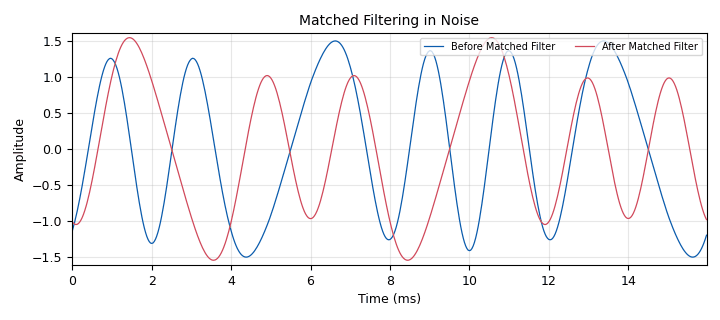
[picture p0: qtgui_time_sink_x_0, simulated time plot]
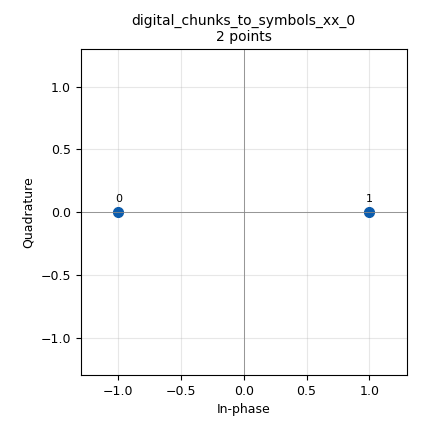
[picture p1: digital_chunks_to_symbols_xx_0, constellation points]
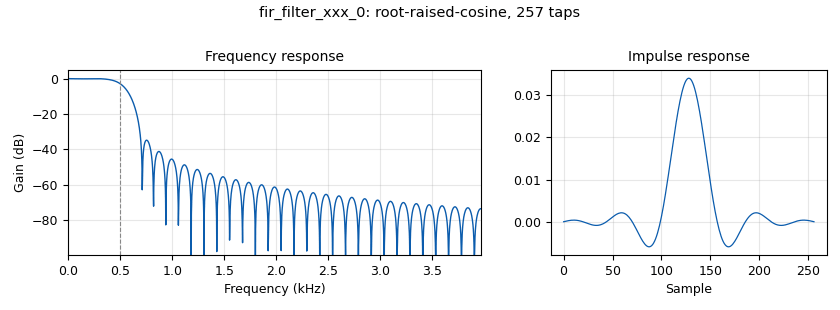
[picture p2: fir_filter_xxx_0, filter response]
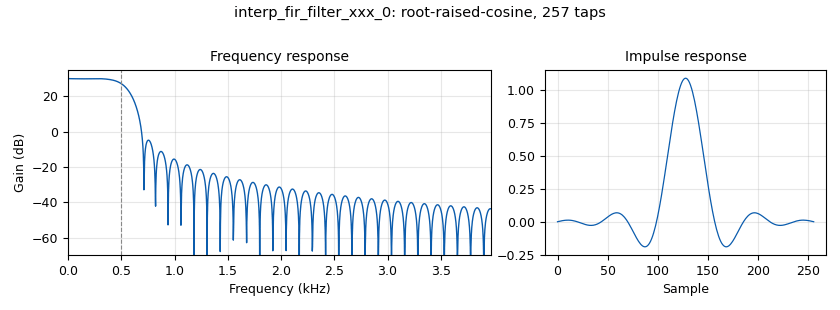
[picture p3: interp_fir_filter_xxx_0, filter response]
options:
  parameters:
    author: Dhrubjun
    generate_options: qt_gui
    id: exp8
    output_language: python
    title: Matched Filtering in Noise
  states: {}

blocks:
- name: alpha
  id: variable
  parameters:
    value: '0.35'
  states: {}
- name: noise_amp
  id: variable_qtgui_range
  parameters:
    label: Noise Amplitude
    start: '0'
    step: '0.05'
    stop: '2'
    value: '0'
  states: {}
- name: ntaps
  id: variable
  parameters:
    value: span * sps + 1
  states: {}
- name: samp_rate
  id: variable
  parameters:
    value: '32000'
  states: {}
- name: span
  id: variable
  parameters:
    value: '8'
  states: {}
- name: sps
  id: variable
  parameters:
    value: int(samp_rate / symbol_rate)
  states: {}
- name: symbol_rate
  id: variable
  parameters:
    value: '1000'
  states: {}
- name: analog_noise_source_x_0
  id: analog_noise_source_x
  parameters:
    amp: noise_amp
    noise_type: analog.GR_GAUSSIAN
    seed: '0'
    type: float
  states: {}
- name: blocks_add_xx_0
  id: blocks_add_xx
  parameters:
    type: float
  states: {}
- name: blocks_throttle2_0
  id: blocks_throttle2
  parameters:
    samples_per_second: samp_rate
    type: float
  states: {}
- name: blocks_vector_source_x_0
  id: blocks_vector_source_x
  parameters:
    repeat: 'True'
    type: byte
    vector: (0, 1, 0, 1, 1, 0, 0, 1, 0, 1, 0, 0, 1, 1, 0, 1)
  states: {}
- name: digital_chunks_to_symbols_xx_0
  id: digital_chunks_to_symbols_xx
  parameters:
    dimension: '1'
    in_type: byte
    out_type: float
    symbol_table: '[-1,1]'
  states: {}
- name: fir_filter_xxx_0
  id: fir_filter_xxx
  parameters:
    decim: '1'
    taps: firdes.root_raised_cosine(1, samp_rate, symbol_rate, alpha, ntaps)
    type: fff
  states: {}
- name: interp_fir_filter_xxx_0
  id: interp_fir_filter_xxx
  parameters:
    interp: sps
    taps: firdes.root_raised_cosine(sps, samp_rate, symbol_rate, alpha, ntaps)
    type: fff
  states: {}
- name: qtgui_time_sink_x_0
  id: qtgui_time_sink_x
  parameters:
    label1: Before Matched Filter
    label2: After Matched Filter
    name: Matched Filtering in Noise
    nconnections: '2'
    size: '512'
    srate: samp_rate
    type: float
    update_time: '2'
    width2: '3'
    ymax: '1.5'
    ymin: '-1.5'
  states: {}

connections:
- [analog_noise_source_x_0, '0', blocks_add_xx_0, '1']
- [blocks_add_xx_0, '0', fir_filter_xxx_0, '0']
- [blocks_add_xx_0, '0', qtgui_time_sink_x_0, '0']
- [blocks_throttle2_0, '0', blocks_add_xx_0, '0']
- [blocks_vector_source_x_0, '0', digital_chunks_to_symbols_xx_0, '0']
- [digital_chunks_to_symbols_xx_0, '0', interp_fir_filter_xxx_0, '0']
- [fir_filter_xxx_0, '0', qtgui_time_sink_x_0, '1']
- [interp_fir_filter_xxx_0, '0', blocks_throttle2_0, '0']

metadata:
  file_format: 1
  grc_version: 3.10.12.0
